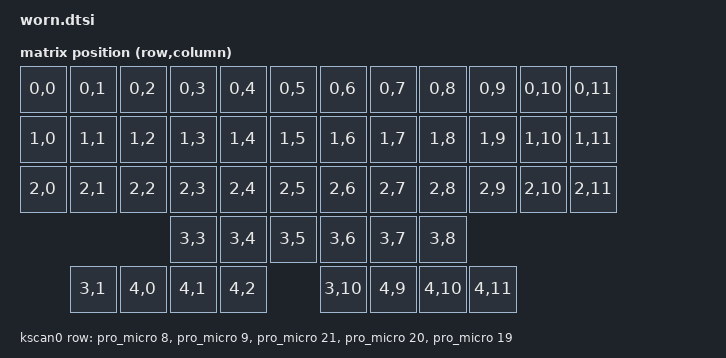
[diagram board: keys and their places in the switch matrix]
#include <dt-bindings/zmk/matrix_transform.h>

/ {
    chosen {
        zephyr;
        zmk,kscan = &kscan0;
    };

    default_transform: keymap_transform_0 {
        compatible = "zmk,matrix-transform";
        columns = <12>;
        rows = <5>;
// Global col 6+c is the right half's local col c -- the halves share one column
// order, they are not mirrored. Row 3 holds the three thumbs plus the arrow
// cluster's UP, outboard of them; row 4 holds LEFT DOWN RIGHT.
        map = <
RC(0,0) RC(0,1) RC(0,2) RC(0,3) RC(0,4) RC(0,5)  RC(0,6) RC(0,7) RC(0,8) RC(0,9) RC(0,10) RC(0,11)
RC(1,0) RC(1,1) RC(1,2) RC(1,3) RC(1,4) RC(1,5)  RC(1,6) RC(1,7) RC(1,8) RC(1,9) RC(1,10) RC(1,11)
RC(2,0) RC(2,1) RC(2,2) RC(2,3) RC(2,4) RC(2,5)  RC(2,6) RC(2,7) RC(2,8) RC(2,9) RC(2,10) RC(2,11)
                        RC(3,3) RC(3,4) RC(3,5)  RC(3,6) RC(3,7) RC(3,8)
        RC(3,1) RC(4,0) RC(4,1) RC(4,2)          RC(3,10) RC(4,9) RC(4,10) RC(4,11)
        >;
    };

    kscan0: kscan {
        compatible = "zmk,kscan-gpio-matrix";
        wakeup-source;

        diode-direction = "col2row";
        row-gpios
            = <&pro_micro 8  (GPIO_ACTIVE_LOW | GPIO_PULL_UP)>
            , <&pro_micro 9  (GPIO_ACTIVE_LOW | GPIO_PULL_UP)>
            , <&pro_micro 21 (GPIO_ACTIVE_LOW | GPIO_PULL_UP)>
            , <&pro_micro 20 (GPIO_ACTIVE_LOW | GPIO_PULL_UP)>
            , <&pro_micro 19 (GPIO_ACTIVE_LOW | GPIO_PULL_UP)>
            ;

    };
};
